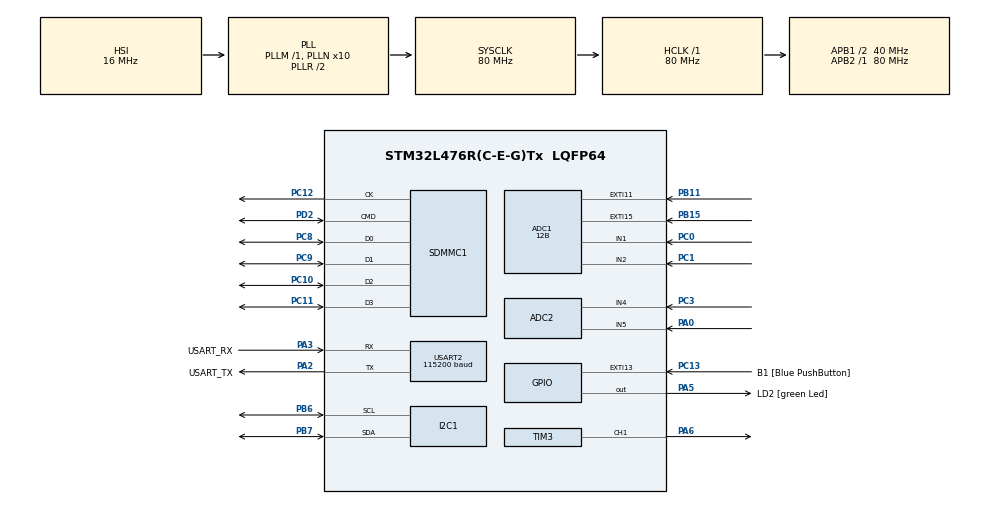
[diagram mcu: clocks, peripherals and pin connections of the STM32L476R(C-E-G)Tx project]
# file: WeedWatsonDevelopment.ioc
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ADC1.AWD1HighThreshold=2000
ADC1.AWD1ITMode=ENABLE
ADC1.Channel-0\#ChannelRegularConversion=ADC_CHANNEL_1
ADC1.Channel-1\#ChannelRegularConversion=ADC_CHANNEL_1
ADC1.ClockPrescaler=ADC_CLOCK_ASYNC_DIV1
ADC1.ContinuousConvMode=ENABLE
ADC1.DMAContinuousRequests=DISABLE
ADC1.DataAlign=ADC_DATAALIGN_RIGHT
ADC1.DiscontinuousConvMode=DISABLE
ADC1.EOCSelection=ADC_EOC_SINGLE_CONV
ADC1.EnableAnalogWatchDog1=true
ADC1.EnableAnalogWatchDog2=false
ADC1.EnableAnalogWatchDog3=false
ADC1.EnableInjectedConversion=DISABLE
ADC1.EnableRegularConversion=ENABLE
ADC1.ExternalTrigConv=ADC_EXTERNALTRIG_EXT_IT11
ADC1.ExternalTrigConvEdge=ADC_EXTERNALTRIGCONVEDGE_RISING
ADC1.LowPowerAutoWait=DISABLE
ADC1.NbrOfConversion=2
ADC1.NbrOfConversionFlag=1
ADC1.OffsetNumber-0\#ChannelRegularConversion=ADC_OFFSET_NONE
ADC1.OffsetNumber-1\#ChannelRegularConversion=ADC_OFFSET_NONE
ADC1.Overrun=ADC_OVR_DATA_OVERWRITTEN
ADC1.OversamplingMode=ENABLE
ADC1.Rank-0\#ChannelRegularConversion=1
ADC1.Rank-1\#ChannelRegularConversion=2
ADC1.Ratio=ADC_OVERSAMPLING_RATIO_2
ADC1.Resolution=ADC_RESOLUTION_12B
ADC1.SamplingTime-0\#ChannelRegularConversion=ADC_SAMPLETIME_2CYCLES_5
ADC1.SamplingTime-1\#ChannelRegularConversion=ADC_SAMPLETIME_2CYCLES_5
ADC1.ScanConvMode=ADC_SCAN_ENABLE
ADC1.master=1
ADC2.Channel-0\#ChannelRegularConversion=ADC_CHANNEL_4
ADC2.Channel-1\#ChannelRegularConversion=ADC_CHANNEL_5
ADC2.ExternalTrigConv=ADC_EXTERNALTRIG_T4_CC4
ADC2.NbrOfConversion=2
ADC2.NbrOfConversionFlag=1
ADC2.OffsetNumber-0\#ChannelRegularConversion=ADC_OFFSET_NONE
ADC2.OffsetNumber-1\#ChannelRegularConversion=ADC_OFFSET_NONE
ADC2.OversamplingMode=ENABLE
ADC2.Rank-0\#ChannelRegularConversion=1
ADC2.Rank-1\#ChannelRegularConversion=2
ADC2.Ratio=ADC_OVERSAMPLING_RATIO_4
ADC2.SamplingTime-0\#ChannelRegularConversion=ADC_SAMPLETIME_2CYCLES_5
ADC2.SamplingTime-1\#ChannelRegularConversion=ADC_SAMPLETIME_2CYCLES_5
Dma.ADC1.2.Direction=DMA_PERIPH_TO_MEMORY
Dma.ADC1.2.Instance=DMA2_Channel3
Dma.ADC1.2.MemDataAlignment=DMA_MDATAALIGN_HALFWORD
Dma.ADC1.2.MemInc=DMA_MINC_ENABLE
Dma.ADC1.2.Mode=DMA_CIRCULAR
Dma.ADC1.2.PeriphDataAlignment=DMA_PDATAALIGN_HALFWORD
Dma.ADC1.2.PeriphInc=DMA_PINC_DISABLE
Dma.ADC1.2.Priority=DMA_PRIORITY_HIGH
Dma.ADC2.3.Direction=DMA_PERIPH_TO_MEMORY
Dma.ADC2.3.Instance=DMA2_Channel4
Dma.ADC2.3.MemDataAlignment=DMA_MDATAALIGN_HALFWORD
Dma.ADC2.3.MemInc=DMA_MINC_ENABLE
Dma.ADC2.3.Mode=DMA_NORMAL
Dma.ADC2.3.PeriphDataAlignment=DMA_PDATAALIGN_HALFWORD
Dma.ADC2.3.PeriphInc=DMA_PINC_DISABLE
Dma.ADC2.3.Priority=DMA_PRIORITY_HIGH
Dma.Request0=USART2_TX
Dma.Request1=USART2_RX
Dma.Request2=ADC1
Dma.Request3=ADC2
Dma.USART2_RX.1.Direction=DMA_PERIPH_TO_MEMORY
Dma.USART2_RX.1.Instance=DMA1_Channel6
Dma.USART2_RX.1.MemDataAlignment=DMA_MDATAALIGN_BYTE
Dma.USART2_RX.1.MemInc=DMA_MINC_ENABLE
Dma.USART2_RX.1.Mode=DMA_NORMAL
Dma.USART2_RX.1.PeriphDataAlignment=DMA_PDATAALIGN_BYTE
Dma.USART2_RX.1.PeriphInc=DMA_PINC_DISABLE
Dma.USART2_RX.1.Priority=DMA_PRIORITY_LOW
Dma.USART2_TX.0.Direction=DMA_MEMORY_TO_PERIPH
Dma.USART2_TX.0.Instance=DMA1_Channel7
Dma.USART2_TX.0.MemDataAlignment=DMA_MDATAALIGN_BYTE
Dma.USART2_TX.0.MemInc=DMA_MINC_ENABLE
Dma.USART2_TX.0.Mode=DMA_NORMAL
Dma.USART2_TX.0.PeriphDataAlignment=DMA_PDATAALIGN_BYTE
Dma.USART2_TX.0.PeriphInc=DMA_PINC_DISABLE
Dma.USART2_TX.0.Priority=DMA_PRIORITY_LOW
I2C1.OwnAddress=0
I2C1.Speed=80
I2C1.Timing=0x0090EBFF
Mcu.Family=STM32L4
Mcu.Name=STM32L476R(C-E-G)Tx
Mcu.Package=LQFP64
NVIC.ADC1_2_IRQn=true\:0\:0\:false\:false\:true\:true
NVIC.DMA1_Channel6_IRQn=true\:0\:0\:false\:false\:true\:true
NVIC.DMA1_Channel7_IRQn=true\:0\:0\:false\:false\:true\:true
NVIC.DMA2_Channel3_IRQn=true\:0\:0\:false\:false\:true\:true
NVIC.DMA2_Channel4_IRQn=true\:0\:0\:false\:false\:true\:true
NVIC.EXTI15_10_IRQn=true\:0\:0\:false\:false\:true\:true
NVIC.I2C1_ER_IRQn=true\:0\:0\:false\:false\:true\:true
NVIC.I2C1_EV_IRQn=true\:0\:0\:false\:false\:true\:true
NVIC.PriorityGroup=NVIC_PRIORITYGROUP_4
NVIC.TIM1_BRK_TIM15_IRQn=true\:0\:0\:false\:false\:true\:true
NVIC.TIM3_IRQn=true\:0\:0\:false\:false\:true\:true
NVIC.TIM4_IRQn=true\:0\:0\:false\:false\:true\:true
NVIC.USART2_IRQn=true\:0\:0\:false\:false\:true\:true
PA0.Signal=ADCx_IN5
PA13\ (JTMS-SWDIO).GPIO_Label=TMS
PA13\ (JTMS-SWDIO).Signal=SYS_JTMS-SWDIO
PA14\ (JTCK-SWCLK).GPIO_Label=TCK
PA14\ (JTCK-SWCLK).Signal=SYS_JTCK-SWCLK
PA2.GPIO_Label=USART_TX
PA2.GPIO_Mode=GPIO_MODE_AF_PP
PA2.GPIO_PuPd=GPIO_NOPULL
PA2.GPIO_Speed=GPIO_SPEED_FREQ_VERY_HIGH
PA2.Mode=Asynchronous
PA2.Signal=USART2_TX
PA3.GPIO_Label=USART_RX
PA3.GPIO_Mode=GPIO_MODE_AF_PP
PA3.GPIO_PuPd=GPIO_NOPULL
PA3.GPIO_Speed=GPIO_SPEED_FREQ_VERY_HIGH
PA3.Mode=Asynchronous
PA3.Signal=USART2_RX
PA5.GPIO_Label=LD2 [green Led]
PA5.GPIO_ModeDefaultOutputPP=GPIO_MODE_OUTPUT_PP
PA5.GPIO_PuPd=GPIO_NOPULL
PA5.GPIO_Speed=GPIO_SPEED_FREQ_LOW
PA5.Signal=GPIO_Output
PA6.Signal=S_TIM3_CH1
PB11.Signal=GPXTI11
PB15.Signal=GPXTI15
PB3\ (JTDO-TRACESWO).GPIO_Label=SWO
PB3\ (JTDO-TRACESWO).Signal=SYS_JTDO-SWO
PB6.Mode=I2C
PB6.Signal=I2C1_SCL
PB7.Mode=I2C
PB7.Signal=I2C1_SDA
PC0.Signal=ADCx_IN1
PC1.Signal=ADCx_IN2
PC10.Mode=SD_4_bits_Wide_bus
PC10.Signal=SDMMC1_D2
PC11.Mode=SD_4_bits_Wide_bus
PC11.Signal=SDMMC1_D3
PC12.Mode=SD_4_bits_Wide_bus
PC12.Signal=SDMMC1_CK
PC13.GPIO_Label=B1 [Blue PushButton]
PC13.GPIO_ModeDefaultEXTI=GPIO_MODE_IT_FALLING
PC13.GPIO_PuPd=GPIO_NOPULL
PC13.Signal=GPXTI13
PC14-OSC32_IN\ (PC14).Signal=RCC_OSC32_IN
PC15-OSC32_OUT\ (PC15).Signal=RCC_OSC32_OUT
PC3.Signal=ADCx_IN4
PC8.Mode=SD_4_bits_Wide_bus
PC8.Signal=SDMMC1_D0
PC9.Mode=SD_4_bits_Wide_bus
PC9.Signal=SDMMC1_D1
PD2.Mode=SD_4_bits_Wide_bus
PD2.Signal=SDMMC1_CMD
PH0-OSC_IN\ (PH0).Signal=RCC_OSC_IN
PH1-OSC_OUT\ (PH1).Signal=RCC_OSC_OUT
ProjectManager.HeapSize=0x200
ProjectManager.StackSize=0x400
ProjectManager.TargetToolchain=SW4STM32
RCC.ADCFreq_Value=64000000
RCC.AHBFreq_Value=80000000
RCC.APB1CLKDivider=RCC_HCLK_DIV2
RCC.APB1Freq_Value=40000000
RCC.APB1TimFreq_Value=80000000
RCC.APB2Freq_Value=80000000
RCC.APB2TimFreq_Value=80000000
RCC.CortexFreq_Value=80000000
RCC.HCLKFreq_Value=80000000
RCC.HSE_VALUE=8000000
RCC.HSI_VALUE=16000000
RCC.LSE_VALUE=32768
RCC.MSI_VALUE=4000000
RCC.PLLN=10
RCC.PLLSAI1Q=RCC_PLLQ_DIV4
RCC.PLLSourceVirtual=RCC_PLLSOURCE_HSI
RCC.PREFETCH_ENABLE=1
RCC.SYSCLKFreq_VALUE=80000000
RCC.SYSCLKSource=RCC_SYSCLKSOURCE_PLLCLK
RCC.USBFreq_Value=32000000
RCC.VCOOutputFreq_Value=160000000
SH.ADCx_IN1.0=ADC1_IN1,IN1-Single-Ended
SH.ADCx_IN2.0=ADC1_IN2,IN2-Single-Ended
SH.ADCx_IN4.0=ADC2_IN4,IN4-Single-Ended
SH.ADCx_IN5.0=ADC2_IN5,IN5-Single-Ended
SH.S_TIM3_CH1.0=TIM3_CH1,Output Compare1 CH1
TIM15.Channel-Output\ Compare1\ No\ Output=TIM_CHANNEL_1
TIM15.Period=49999
TIM15.Prescaler=15
TIM3.Channel-Output\ Compare1\ CH1=TIM_CHANNEL_1
TIM3.OCMode_1=TIM_OCMODE_TOGGLE
TIM3.Period=63999
TIM3.Prescaler=24
TIM4.Channel-Output\ Compare1\ No\ Output=TIM_CHANNEL_1
TIM4.Channel-Output\ Compare4\ No\ Output=TIM_CHANNEL_4
TIM4.Period=49999
TIM4.Prescaler=15
USART2.BaudRate=115200
USART2.VirtualMode-Asynchronous=VM_ASYNC
USART2.WordLength=WORDLENGTH_8B
VP_FATFS_VS_SDIO.Mode=SDIO
VP_TIM15_VS_ClockSourceINT.Mode=Internal
VP_TIM15_VS_no_output1.Mode=Output Compare1 No Output
VP_TIM3_VS_ClockSourceINT.Mode=Internal
VP_TIM4_VS_ClockSourceINT.Mode=Internal
VP_TIM4_VS_no_output1.Mode=Output Compare1 No Output
VP_TIM4_VS_no_output4.Mode=Output Compare4 No Output
board=NUCLEO-L476RG

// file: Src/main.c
/**
  ******************************************************************************
  * File Name          : main.c
  * Description        : Main program body
  ******************************************************************************
  * This notice applies to any and all portions of this file
  * that are not between comment pairs USER CODE BEGIN and
  * USER CODE END. Other portions of this file, whether
  * inserted by the user or by software development tools
  * are owned by their respective copyright owners.
  *
  * Copyright (c) 2017 STMicroelectronics International N.V.
  * All rights reserved.
  *
  * Redistribution and use in source and binary forms, with or without
  * modification, are permitted, provided that the following conditions are met:
  *
  * 1. Redistribution of source code must retain the above copyright notice,
  *    this list of conditions and the following disclaimer.
  * 2. Redistributions in binary form must reproduce the above copyright notice,
  *    this list of conditions and the following disclaimer in the documentation
  *    and/or other materials provided with the distribution.
  * 3. Neither the name of STMicroelectronics nor the names of other
  *    contributors to this software may be used to endorse or promote products
  *    derived from this software without specific written permission.
  * 4. This software, including modifications and/or derivative works of this
  *    software, must execute solely and exclusively on microcontroller or
  *    microprocessor devices manufactured by or for STMicroelectronics.
  * 5. Redistribution and use of this software other than as permitted under
  *    this license is void and will automatically terminate your rights under
  *    this license.
  *
  * THIS SOFTWARE IS PROVIDED BY STMICROELECTRONICS AND CONTRIBUTORS "AS IS"
  * AND ANY EXPRESS, IMPLIED OR STATUTORY WARRANTIES, INCLUDING, BUT NOT
  * LIMITED TO, THE IMPLIED WARRANTIES OF MERCHANTABILITY, FITNESS FOR A
  * PARTICULAR PURPOSE AND NON-INFRINGEMENT OF THIRD PARTY INTELLECTUAL PROPERTY
  * RIGHTS ARE DISCLAIMED TO THE FULLEST EXTENT PERMITTED BY LAW. IN NO EVENT
  * SHALL STMICROELECTRONICS OR CONTRIBUTORS BE LIABLE FOR ANY DIRECT, INDIRECT,
  * INCIDENTAL, SPECIAL, EXEMPLARY, OR CONSEQUENTIAL DAMAGES (INCLUDING, BUT NOT
  * LIMITED TO, PROCUREMENT OF SUBSTITUTE GOODS OR SERVICES; LOSS OF USE, DATA,
  * OR PROFITS; OR BUSINESS INTERRUPTION) HOWEVER CAUSED AND ON ANY THEORY OF
  * LIABILITY, WHETHER IN CONTRACT, STRICT LIABILITY, OR TORT (INCLUDING
  * NEGLIGENCE OR OTHERWISE) ARISING IN ANY WAY OUT OF THE USE OF THIS SOFTWARE,
  * EVEN IF ADVISED OF THE POSSIBILITY OF SUCH DAMAGE.
  *
  ******************************************************************************
  */
#include "main.h"
#include "stm32l4xx_hal.h"
#include "fatfs.h"

/* USER CODE BEGIN Includes */
#include "hd44780.h"

/* ADC parameters */
#define ADCCONVERTEDVALUES_BUFFER_SIZE ((uint32_t)    3)    /* Size of array containing ADC converted values: set to ADC sequencer number of ranks converted, to have a rank in each address */

/* USER CODE END Includes */

ADC_HandleTypeDef hadc1;
ADC_HandleTypeDef hadc2;
DMA_HandleTypeDef hdma_adc1;
DMA_HandleTypeDef hdma_adc2;

I2C_HandleTypeDef hi2c1;

SD_HandleTypeDef hsd1;

TIM_HandleTypeDef htim3;
TIM_HandleTypeDef htim4;
TIM_HandleTypeDef htim15;

UART_HandleTypeDef huart2;
DMA_HandleTypeDef hdma_usart2_tx;
DMA_HandleTypeDef hdma_usart2_rx;

/* USER CODE BEGIN PV */
/* Private variables ---------------------------------------------------------*/
__IO ITStatus UartReady = RESET;
__IO uint32_t UserButtonStatus = 0;  /* set to 1 after User Button interrupt  */

/* Variable containing ADC conversions results */
__IO uint16_t   aADCxConvertedValues[ADCCONVERTEDVALUES_BUFFER_SIZE];

/* Buffer used for transmission */
uint8_t aTxBuffer[] = "****UART_TwoBoards communication based on DMA****\n****UART_TwoBoards communication based on DMA****\n";

/* Buffer used for reception */
uint8_t aRxBuffer[RXBUFFERSIZE];

/* I2C display */
LCD_PCF8574_HandleTypeDef	lcd;

/* counter for pushbutton function increment*/
uint8_t PB_counter = 0;

/* USER CODE END PV */

int fputc(int ch, FILE *f);
void SystemClock_Config(void);
static void MX_GPIO_Init(void);
static void MX_DMA_Init(void);
static void MX_USART2_UART_Init(void);
static void MX_TIM3_Init(void);
static void MX_ADC1_Init(void);
static void MX_ADC2_Init(void);
static void MX_TIM4_Init(void);
static void MX_TIM15_Init(void);
static void MX_SDMMC1_SD_Init(void);
static void MX_I2C1_Init(void);

void HAL_TIM_MspPostInit(TIM_HandleTypeDef *htim);

/* USER CODE BEGIN PFP */
/* Private function prototypes -----------------------------------------------*/
void callBack(DMA_HandleTypeDef * hdma);
void do_ADC_conversion(void);
void initLCD(void);
void errorHandleLCD(LCD_RESULT result);
void errorHandleI2C(PCF8574_RESULT result);
void writeTestLCD(void);

HAL_StatusTypeDef SendData(void);
/* USER CODE END PFP */

/* USER CODE BEGIN 0 */

//write some stuff to the LCD
void writeTestLCD(void)
{
	LCD_SetLocation(&lcd, 0, 0);
	LCD_WriteString(&lcd, "pi:");
	LCD_SetLocation(&lcd, 0, 1);
	LCD_WriteString(&lcd, "e:");
	LCD_SetLocation(&lcd, 6, 0);
	LCD_WriteFloat(&lcd,3.1415926,7);
	LCD_SetLocation(&lcd, 6, 1);
	LCD_WriteFloat(&lcd,2.71,2);
}

//returns the size of a character array using a pointer to the first element of the character array
int size(uint8_t *ptr)
{
    //variable used to access the subsequent array elements.
    int offset = 0;
    //variable that counts the number of elements in your array
    int count = 0;

    //While loop that tests whether the end of the array has been reached
    while (*(ptr + offset) != '\0')
    {
        //increment the count variable
        ++count;
        //advance to the next element of the array
        ++offset;
    }
    //return the size of the array
    return count;
}
/* USER CODE END 0 */

int main(void)
{

  /* MCU Configuration----------------------------------------------------------*/

  /* Reset of all peripherals, Initializes the Flash interface and the Systick. */
  HAL_Init();

  /* Configure the system clock */
  SystemClock_Config();

  /* Initialize all configured peripherals */
  MX_GPIO_Init();
  MX_DMA_Init();
  MX_USART2_UART_Init();
  MX_TIM3_Init();
  MX_ADC1_Init();
  MX_ADC2_Init();
  MX_TIM4_Init();
  MX_TIM15_Init();
  MX_SDMMC1_SD_Init();
  MX_FATFS_Init();
  MX_I2C1_Init();

  /* USER CODE BEGIN 2 */
  HAL_UART_Transmit_DMA(&huart2, (uint8_t*)aTxBuffer, TXBUFFERSIZE);
  //HAL_UART_Receive_IT(&huart2, (uint8_t *)aRxBuffer, RXBUFFERSIZE);
  HAL_UART_Receive_DMA(&huart2, (uint8_t *)aRxBuffer, RXBUFFERSIZE);
  //if(HAL_UART_Receive_DMA(&UartHandle, (uint8_t *)aRxBuffer, RXBUFFERSIZE) != HAL_OK)

  /** TIM for base timer, timer for internal trigger */
  HAL_TIM_Base_Start_IT(&htim3);
  /**TIM for Output Compare, PinToggle */
  HAL_TIM_OC_Start_IT(&htim3, TIM_CHANNEL_1);

  /*## Start ADC conversions #################################################*/
  /* Run the ADC calibration in single-ended mode */
  if (HAL_ADCEx_Calibration_Start(&hadc1, ADC_SINGLE_ENDED) != HAL_OK)
  {
    /* Calibration Error */
    Error_Handler();
  }

  /* Start ADC conversion on regular group with transfer by DMA */
  if (HAL_ADC_Start_DMA(&hadc1,
                        (uint32_t *)aADCxConvertedValues,
                        ADCCONVERTEDVALUES_BUFFER_SIZE
                       ) != HAL_OK)
  {
    /* Start Error */
    Error_Handler();
  }

  /** i2c play
  //..this works sending three bytes to the i2c.
  uint8_t size = 2;
  uint8_t i2cTxBuffer[] = {0, 0 , 0x30};
		  //(handle->PCF_I2C_ADDRESS << 1) | PCF8574_I2C_ADDRESS_MASK

  //needs to be blocking because more to come.
  HAL_I2C_Master_Transmit(&hi2c1,
  			(0x3F|0x40),
			i2cTxBuffer,
			size,
			1000);
*/

  /* Init LCD and print some stuff there */
  initLCD();

	/* write to LCD*/
	LCD_ClearDisplay(&lcd);
	writeTestLCD();

	/* Output a message on Hyperterminal using printf function */
	printf("\n\r UART Printf Example: retarget the C library printf function to the UART\n\r");

  /* USER CODE END 2 */

  /* Infinite loop */
  while (1)
  {

  }

}

/** System Clock Configuration
*/
void SystemClock_Config(void)
{

  RCC_OscInitTypeDef RCC_OscInitStruct;
  RCC_ClkInitTypeDef RCC_ClkInitStruct;
  RCC_PeriphCLKInitTypeDef PeriphClkInit;

    /**Initializes the CPU, AHB and APB busses clocks
    */
  RCC_OscInitStruct.OscillatorType = RCC_OSCILLATORTYPE_HSI;
  RCC_OscInitStruct.HSIState = RCC_HSI_ON;
  RCC_OscInitStruct.HSICalibrationValue = 16;
  RCC_OscInitStruct.PLL.PLLState = RCC_PLL_ON;
  RCC_OscInitStruct.PLL.PLLSource = RCC_PLLSOURCE_HSI;
  RCC_OscInitStruct.PLL.PLLM = 1;
  RCC_OscInitStruct.PLL.PLLN = 10;
  RCC_OscInitStruct.PLL.PLLP = RCC_PLLP_DIV7;
  RCC_OscInitStruct.PLL.PLLQ = RCC_PLLQ_DIV2;
  RCC_OscInitStruct.PLL.PLLR = RCC_PLLR_DIV2;
  if (HAL_RCC_OscConfig(&RCC_OscInitStruct) != HAL_OK)
  {
    _Error_Handler(__FILE__, __LINE__);
  }

    /**Initializes the CPU, AHB and APB busses clocks
    */
  RCC_ClkInitStruct.ClockType = RCC_CLOCKTYPE_HCLK|RCC_CLOCKTYPE_SYSCLK
                              |RCC_CLOCKTYPE_PCLK1|RCC_CLOCKTYPE_PCLK2;
  RCC_ClkInitStruct.SYSCLKSource = RCC_SYSCLKSOURCE_PLLCLK;
  RCC_ClkInitStruct.AHBCLKDivider = RCC_SYSCLK_DIV1;
  RCC_ClkInitStruct.APB1CLKDivider = RCC_HCLK_DIV2;
  RCC_ClkInitStruct.APB2CLKDivider = RCC_HCLK_DIV1;

  if (HAL_RCC_ClockConfig(&RCC_ClkInitStruct, FLASH_LATENCY_3) != HAL_OK)
  {
    _Error_Handler(__FILE__, __LINE__);
  }

  PeriphClkInit.PeriphClockSelection = RCC_PERIPHCLK_USART2|RCC_PERIPHCLK_I2C1
                              |RCC_PERIPHCLK_SDMMC1|RCC_PERIPHCLK_ADC;
  PeriphClkInit.Usart2ClockSelection = RCC_USART2CLKSOURCE_PCLK1;
  PeriphClkInit.I2c1ClockSelection = RCC_I2C1CLKSOURCE_PCLK1;
  PeriphClkInit.AdcClockSelection = RCC_ADCCLKSOURCE_PLLSAI1;
  PeriphClkInit.Sdmmc1ClockSelection = RCC_SDMMC1CLKSOURCE_PLLSAI1;
  PeriphClkInit.PLLSAI1.PLLSAI1Source = RCC_PLLSOURCE_HSI;
  PeriphClkInit.PLLSAI1.PLLSAI1M = 1;
  PeriphClkInit.PLLSAI1.PLLSAI1N = 8;
  PeriphClkInit.PLLSAI1.PLLSAI1P = RCC_PLLP_DIV7;
  PeriphClkInit.PLLSAI1.PLLSAI1Q = RCC_PLLQ_DIV4;
  PeriphClkInit.PLLSAI1.PLLSAI1R = RCC_PLLR_DIV2;
  PeriphClkInit.PLLSAI1.PLLSAI1ClockOut = RCC_PLLSAI1_48M2CLK|RCC_PLLSAI1_ADC1CLK;
  if (HAL_RCCEx_PeriphCLKConfig(&PeriphClkInit) != HAL_OK)
  {
    _Error_Handler(__FILE__, __LINE__);
  }

    /**Configure the main internal regulator output voltage
    */
  if (HAL_PWREx_ControlVoltageScaling(PWR_REGULATOR_VOLTAGE_SCALE1) != HAL_OK)
  {
    _Error_Handler(__FILE__, __LINE__);
  }

    /**Configure the Systick interrupt time
    */
  HAL_SYSTICK_Config(HAL_RCC_GetHCLKFreq()/1000);

    /**Configure the Systick
    */
  HAL_SYSTICK_CLKSourceConfig(SYSTICK_CLKSOURCE_HCLK);

  /* SysTick_IRQn interrupt configuration */
  HAL_NVIC_SetPriority(SysTick_IRQn, 0, 0);
}

/* ADC1 init function */
static void MX_ADC1_Init(void)
{

  ADC_MultiModeTypeDef multimode;
  ADC_AnalogWDGConfTypeDef AnalogWDGConfig;
  ADC_ChannelConfTypeDef sConfig;

    /**Common config
    */
  hadc1.Instance = ADC1;
  hadc1.Init.ClockPrescaler = ADC_CLOCK_ASYNC_DIV1;
  hadc1.Init.Resolution = ADC_RESOLUTION_12B;
  hadc1.Init.DataAlign = ADC_DATAALIGN_RIGHT;
  hadc1.Init.ScanConvMode = ADC_SCAN_ENABLE;
  hadc1.Init.EOCSelection = ADC_EOC_SINGLE_CONV;
  hadc1.Init.LowPowerAutoWait = DISABLE;
  hadc1.Init.ContinuousConvMode = ENABLE;
  hadc1.Init.NbrOfConversion = 2;
  hadc1.Init.DiscontinuousConvMode = DISABLE;
  hadc1.Init.NbrOfDiscConversion = 1;
  hadc1.Init.ExternalTrigConv = ADC_EXTERNALTRIG_EXT_IT11;
  hadc1.Init.ExternalTrigConvEdge = ADC_EXTERNALTRIGCONVEDGE_RISING;
  hadc1.Init.DMAContinuousRequests = DISABLE;
  hadc1.Init.Overrun = ADC_OVR_DATA_OVERWRITTEN;
  hadc1.Init.OversamplingMode = ENABLE;
  hadc1.Init.Oversampling.Ratio = ADC_OVERSAMPLING_RATIO_2;
  hadc1.Init.Oversampling.RightBitShift = ADC_RIGHTBITSHIFT_NONE;
  hadc1.Init.Oversampling.TriggeredMode = ADC_TRIGGEREDMODE_SINGLE_TRIGGER;
  hadc1.Init.Oversampling.OversamplingStopReset = ADC_REGOVERSAMPLING_CONTINUED_MODE;
  if (HAL_ADC_Init(&hadc1) != HAL_OK)
  {
    _Error_Handler(__FILE__, __LINE__);
  }

    /**Configure the ADC multi-mode
    */
  multimode.Mode = ADC_MODE_INDEPENDENT;
  if (HAL_ADCEx_MultiModeConfigChannel(&hadc1, &multimode) != HAL_OK)
  {
    _Error_Handler(__FILE__, __LINE__);
  }

    /**Configure Analog WatchDog 1
    */
  AnalogWDGConfig.WatchdogNumber = ADC_ANALOGWATCHDOG_1;
  AnalogWDGConfig.WatchdogMode = ADC_ANALOGWATCHDOG_SINGLE_REG;
  AnalogWDGConfig.Channel = ADC_CHANNEL_1;
  AnalogWDGConfig.ITMode = ENABLE;
  AnalogWDGConfig.HighThreshold = 2000;
  AnalogWDGConfig.LowThreshold = 0;
  if (HAL_ADC_AnalogWDGConfig(&hadc1, &AnalogWDGConfig) != HAL_OK)
  {
    _Error_Handler(__FILE__, __LINE__);
  }

    /**Configure Regular Channel
    */
  sConfig.Channel = ADC_CHANNEL_1;
  sConfig.Rank = 1;
  sConfig.SamplingTime = ADC_SAMPLETIME_2CYCLES_5;
  sConfig.SingleDiff = ADC_SINGLE_ENDED;
  sConfig.OffsetNumber = ADC_OFFSET_NONE;
  sConfig.Offset = 0;
  if (HAL_ADC_ConfigChannel(&hadc1, &sConfig) != HAL_OK)
  {
    _Error_Handler(__FILE__, __LINE__);
  }

    /**Configure Regular Channel
    */
  sConfig.Rank = 2;
  if (HAL_ADC_ConfigChannel(&hadc1, &sConfig) != HAL_OK)
  {
    _Error_Handler(__FILE__, __LINE__);
  }

}

/* ADC2 init function */
static void MX_ADC2_Init(void)
{

  ADC_ChannelConfTypeDef sConfig;

    /**Common config
    */
  hadc2.Instance = ADC2;
  hadc2.Init.ClockPrescaler = ADC_CLOCK_ASYNC_DIV1;
  hadc2.Init.Resolution = ADC_RESOLUTION_12B;
  hadc2.Init.DataAlign = ADC_DATAALIGN_RIGHT;
  hadc2.Init.ScanConvMode = ADC_SCAN_ENABLE;
  hadc2.Init.EOCSelection = ADC_EOC_SINGLE_CONV;
  hadc2.Init.LowPowerAutoWait = DISABLE;
  hadc2.Init.ContinuousConvMode = DISABLE;
  hadc2.Init.NbrOfConversion = 2;
  hadc2.Init.DiscontinuousConvMode = DISABLE;
  hadc2.Init.NbrOfDiscConversion = 1;
  hadc2.Init.ExternalTrigConv = ADC_EXTERNALTRIG_T4_CC4;
  hadc2.Init.ExternalTrigConvEdge = ADC_EXTERNALTRIGCONVEDGE_RISING;
  hadc2.Init.DMAContinuousRequests = DISABLE;
  hadc2.Init.Overrun = ADC_OVR_DATA_PRESERVED;
  hadc2.Init.OversamplingMode = ENABLE;
  hadc2.Init.Oversampling.Ratio = ADC_OVERSAMPLING_RATIO_4;
  hadc2.Init.Oversampling.RightBitShift = ADC_RIGHTBITSHIFT_NONE;
  hadc2.Init.Oversampling.TriggeredMode = ADC_TRIGGEREDMODE_SINGLE_TRIGGER;
  hadc2.Init.Oversampling.OversamplingStopReset = ADC_REGOVERSAMPLING_CONTINUED_MODE;
  if (HAL_ADC_Init(&hadc2) != HAL_OK)
  {
    _Error_Handler(__FILE__, __LINE__);
  }

    /**Configure Regular Channel
    */
  sConfig.Channel = ADC_CHANNEL_4;
  sConfig.Rank = 1;
  sConfig.SamplingTime = ADC_SAMPLETIME_2CYCLES_5;
  sConfig.SingleDiff = ADC_SINGLE_ENDED;
  sConfig.OffsetNumber = ADC_OFFSET_NONE;
  sConfig.Offset = 0;
  if (HAL_ADC_ConfigChannel(&hadc2, &sConfig) != HAL_OK)
  {
    _Error_Handler(__FILE__, __LINE__);
  }

    /**Configure Regular Channel
    */
  sConfig.Channel = ADC_CHANNEL_5;
  sConfig.Rank = 2;
  if (HAL_ADC_ConfigChannel(&hadc2, &sConfig) != HAL_OK)
  {
    _Error_Handler(__FILE__, __LINE__);
  }

}

/* I2C1 init function */
static void MX_I2C1_Init(void)
{

  hi2c1.Instance = I2C1;
  hi2c1.Init.Timing = 0x0090EBFF;
  hi2c1.Init.OwnAddress1 = 0;
  hi2c1.Init.AddressingMode = I2C_ADDRESSINGMODE_7BIT;
  hi2c1.Init.DualAddressMode = I2C_DUALADDRESS_DISABLE;
  hi2c1.Init.OwnAddress2 = 0;
  hi2c1.Init.OwnAddress2Masks = I2C_OA2_NOMASK;
  hi2c1.Init.GeneralCallMode = I2C_GENERALCALL_DISABLE;
  hi2c1.Init.NoStretchMode = I2C_NOSTRETCH_DISABLE;
  if (HAL_I2C_Init(&hi2c1) != HAL_OK)
  {
    _Error_Handler(__FILE__, __LINE__);
  }

    /**Configure Analogue filter
    */
  if (HAL_I2CEx_ConfigAnalogFilter(&hi2c1, I2C_ANALOGFILTER_ENABLE) != HAL_OK)
  {
    _Error_Handler(__FILE__, __LINE__);
  }

    /**Configure Digital filter
    */
  if (HAL_I2CEx_ConfigDigitalFilter(&hi2c1, 0) != HAL_OK)
  {
    _Error_Handler(__FILE__, __LINE__);
  }

}

/* SDMMC1 init function */
static void MX_SDMMC1_SD_Init(void)
{

  hsd1.Instance = SDMMC1;
  hsd1.Init.ClockEdge = SDMMC_CLOCK_EDGE_RISING;
  hsd1.Init.ClockBypass = SDMMC_CLOCK_BYPASS_DISABLE;
  hsd1.Init.ClockPowerSave = SDMMC_CLOCK_POWER_SAVE_DISABLE;
  hsd1.Init.BusWide = SDMMC_BUS_WIDE_1B;
  hsd1.Init.HardwareFlowControl = SDMMC_HARDWARE_FLOW_CONTROL_DISABLE;
  hsd1.Init.ClockDiv = 0;

}

/* TIM3 init function */
static void MX_TIM3_Init(void)
{

  TIM_ClockConfigTypeDef sClockSourceConfig;
  TIM_MasterConfigTypeDef sMasterConfig;
  TIM_OC_InitTypeDef sConfigOC;

  htim3.Instance = TIM3;
  htim3.Init.Prescaler = 24;
  htim3.Init.CounterMode = TIM_COUNTERMODE_UP;
  htim3.Init.Period = 63999;
  htim3.Init.ClockDivision = TIM_CLOCKDIVISION_DIV1;
  htim3.Init.AutoReloadPreload = TIM_AUTORELOAD_PRELOAD_DISABLE;
  if (HAL_TIM_Base_Init(&htim3) != HAL_OK)
  {
    _Error_Handler(__FILE__, __LINE__);
  }

  sClockSourceConfig.ClockSource = TIM_CLOCKSOURCE_INTERNAL;
  if (HAL_TIM_ConfigClockSource(&htim3, &sClockSourceConfig) != HAL_OK)
  {
    _Error_Handler(__FILE__, __LINE__);
  }

  if (HAL_TIM_OC_Init(&htim3) != HAL_OK)
  {
    _Error_Handler(__FILE__, __LINE__);
  }

  sMasterConfig.MasterOutputTrigger = TIM_TRGO_RESET;
  sMasterConfig.MasterSlaveMode = TIM_MASTERSLAVEMODE_DISABLE;
  if (HAL_TIMEx_MasterConfigSynchronization(&htim3, &sMasterConfig) != HAL_OK)
  {
    _Error_Handler(__FILE__, __LINE__);
  }

  sConfigOC.OCMode = TIM_OCMODE_TOGGLE;
  sConfigOC.Pulse = 0;
  sConfigOC.OCPolarity = TIM_OCPOLARITY_HIGH;
  sConfigOC.OCFastMode = TIM_OCFAST_DISABLE;
  if (HAL_TIM_OC_ConfigChannel(&htim3, &sConfigOC, TIM_CHANNEL_1) != HAL_OK)
  {
    _Error_Handler(__FILE__, __LINE__);
  }

  HAL_TIM_MspPostInit(&htim3);

}

/* TIM4 init function */
static void MX_TIM4_Init(void)
{

  TIM_ClockConfigTypeDef sClockSourceConfig;
  TIM_MasterConfigTypeDef sMasterConfig;
  TIM_OC_InitTypeDef sConfigOC;

  htim4.Instance = TIM4;
  htim4.Init.Prescaler = 15;
  htim4.Init.CounterMode = TIM_COUNTERMODE_UP;
  htim4.Init.Period = 49999;
  htim4.Init.ClockDivision = TIM_CLOCKDIVISION_DIV1;
  htim4.Init.AutoReloadPreload = TIM_AUTORELOAD_PRELOAD_DISABLE;
  if (HAL_TIM_Base_Init(&htim4) != HAL_OK)
  {
    _Error_Handler(__FILE__, __LINE__);
  }

  sClockSourceConfig.ClockSource = TIM_CLOCKSOURCE_INTERNAL;
  if (HAL_TIM_ConfigClockSource(&htim4, &sClockSourceConfig) != HAL_OK)
  {
    _Error_Handler(__FILE__, __LINE__);
  }

  if (HAL_TIM_OC_Init(&htim4) != HAL_OK)
  {
    _Error_Handler(__FILE__, __LINE__);
  }

  sMasterConfig.MasterOutputTrigger = TIM_TRGO_RESET;
  sMasterConfig.MasterSlaveMode = TIM_MASTERSLAVEMODE_DISABLE;
  if (HAL_TIMEx_MasterConfigSynchronization(&htim4, &sMasterConfig) != HAL_OK)
  {
    _Error_Handler(__FILE__, __LINE__);
  }

  sConfigOC.OCMode = TIM_OCMODE_TIMING;
  sConfigOC.Pulse = 0;
  sConfigOC.OCPolarity = TIM_OCPOLARITY_HIGH;
  sConfigOC.OCFastMode = TIM_OCFAST_DISABLE;
  if (HAL_TIM_OC_ConfigChannel(&htim4, &sConfigOC, TIM_CHANNEL_1) != HAL_OK)
  {
    _Error_Handler(__FILE__, __LINE__);
  }

  if (HAL_TIM_OC_ConfigChannel(&htim4, &sConfigOC, TIM_CHANNEL_4) != HAL_OK)
  {
    _Error_Handler(__FILE__, __LINE__);
  }

}

/* TIM15 init function */
static void MX_TIM15_Init(void)
{

  TIM_ClockConfigTypeDef sClockSourceConfig;
  TIM_MasterConfigTypeDef sMasterConfig;
  TIM_OC_InitTypeDef sConfigOC;
  TIM_BreakDeadTimeConfigTypeDef sBreakDeadTimeConfig;

  htim15.Instance = TIM15;
  htim15.Init.Prescaler = 15;
  htim15.Init.CounterMode = TIM_COUNTERMODE_UP;
  htim15.Init.Period = 49999;
  htim15.Init.ClockDivision = TIM_CLOCKDIVISION_DIV1;
  htim15.Init.RepetitionCounter = 0;
  htim15.Init.AutoReloadPreload = TIM_AUTORELOAD_PRELOAD_DISABLE;
  if (HAL_TIM_Base_Init(&htim15) != HAL_OK)
  {
    _Error_Handler(__FILE__, __LINE__);
  }

  sClockSourceConfig.ClockSource = TIM_CLOCKSOURCE_INTERNAL;
  if (HAL_TIM_ConfigClockSource(&htim15, &sClockSourceConfig) != HAL_OK)
  {
    _Error_Handler(__FILE__, __LINE__);
  }

  if (HAL_TIM_OC_Init(&htim15) != HAL_OK)
  {
    _Error_Handler(__FILE__, __LINE__);
  }

  sMasterConfig.MasterOutputTrigger = TIM_TRGO_RESET;
  sMasterConfig.MasterSlaveMode = TIM_MASTERSLAVEMODE_DISABLE;
  if (HAL_TIMEx_MasterConfigSynchronization(&htim15, &sMasterConfig) != HAL_OK)
  {
    _Error_Handler(__FILE__, __LINE__);
  }

  sConfigOC.OCMode = TIM_OCMODE_TIMING;
  sConfigOC.Pulse = 0;
  sConfigOC.OCPolarity = TIM_OCPOLARITY_HIGH;
  sConfigOC.OCNPolarity = TIM_OCNPOLARITY_HIGH;
  sConfigOC.OCFastMode = TIM_OCFAST_DISABLE;
  sConfigOC.OCIdleState = TIM_OCIDLESTATE_RESET;
  sConfigOC.OCNIdleState = TIM_OCNIDLESTATE_RESET;
  if (HAL_TIM_OC_ConfigChannel(&htim15, &sConfigOC, TIM_CHANNEL_1) != HAL_OK)
  {
    _Error_Handler(__FILE__, __LINE__);
  }

  sBreakDeadTimeConfig.OffStateRunMode = TIM_OSSR_DISABLE;
  sBreakDeadTimeConfig.OffStateIDLEMode = TIM_OSSI_DISABLE;
  sBreakDeadTimeConfig.LockLevel = TIM_LOCKLEVEL_OFF;
  sBreakDeadTimeConfig.DeadTime = 0;
  sBreakDeadTimeConfig.BreakState = TIM_BREAK_DISABLE;
  sBreakDeadTimeConfig.BreakPolarity = TIM_BREAKPOLARITY_HIGH;
  sBreakDeadTimeConfig.BreakFilter = 0;
  sBreakDeadTimeConfig.AutomaticOutput = TIM_AUTOMATICOUTPUT_DISABLE;
  if (HAL_TIMEx_ConfigBreakDeadTime(&htim15, &sBreakDeadTimeConfig) != HAL_OK)
  {
    _Error_Handler(__FILE__, __LINE__);
  }

}

/* USART2 init function */
static void MX_USART2_UART_Init(void)
{

  huart2.Instance = USART2;
  huart2.Init.BaudRate = 115200;
  huart2.Init.WordLength = UART_WORDLENGTH_8B;
  huart2.Init.StopBits = UART_STOPBITS_1;
  huart2.Init.Parity = UART_PARITY_NONE;
  huart2.Init.Mode = UART_MODE_TX_RX;
  huart2.Init.HwFlowCtl = UART_HWCONTROL_NONE;
  huart2.Init.OverSampling = UART_OVERSAMPLING_16;
  huart2.Init.OneBitSampling = UART_ONE_BIT_SAMPLE_DISABLE;
  huart2.AdvancedInit.AdvFeatureInit = UART_ADVFEATURE_NO_INIT;
  if (HAL_UART_Init(&huart2) != HAL_OK)
  {
    _Error_Handler(__FILE__, __LINE__);
  }

}

static void MX_DMA_Init(void)
{
  /* DMA controller clock enable */
  __HAL_RCC_DMA1_CLK_ENABLE();
  __HAL_RCC_DMA2_CLK_ENABLE();

  /* DMA interrupt init */
  /* DMA1_Channel6_IRQn interrupt configuration */
  HAL_NVIC_SetPriority(DMA1_Channel6_IRQn, 0, 0);
  HAL_NVIC_EnableIRQ(DMA1_Channel6_IRQn);
  /* DMA1_Channel7_IRQn interrupt configuration */
  HAL_NVIC_SetPriority(DMA1_Channel7_IRQn, 0, 0);
  HAL_NVIC_EnableIRQ(DMA1_Channel7_IRQn);
  /* DMA2_Channel3_IRQn interrupt configuration */
  HAL_NVIC_SetPriority(DMA2_Channel3_IRQn, 0, 0);
  HAL_NVIC_EnableIRQ(DMA2_Channel3_IRQn);
  /* DMA2_Channel4_IRQn interrupt configuration */
  HAL_NVIC_SetPriority(DMA2_Channel4_IRQn, 0, 0);
  HAL_NVIC_EnableIRQ(DMA2_Channel4_IRQn);

}

/** Configure pins as
        * Analog
        * Input
        * Output
        * EVENT_OUT
        * EXTI
*/
static void MX_GPIO_Init(void)
{

  GPIO_InitTypeDef GPIO_InitStruct;

  /* GPIO Ports Clock Enable */
  __HAL_RCC_GPIOC_CLK_ENABLE();
  __HAL_RCC_GPIOH_CLK_ENABLE();
  __HAL_RCC_GPIOA_CLK_ENABLE();
  __HAL_RCC_GPIOB_CLK_ENABLE();
  __HAL_RCC_GPIOD_CLK_ENABLE();

  /*Configure GPIO pin Output Level */
  HAL_GPIO_WritePin(LD2_GPIO_Port, LD2_Pin, GPIO_PIN_RESET);

  /*Configure GPIO pin : B1_Pin */
  GPIO_InitStruct.Pin = B1_Pin;
  GPIO_InitStruct.Mode = GPIO_MODE_IT_FALLING;
  GPIO_InitStruct.Pull = GPIO_NOPULL;
  HAL_GPIO_Init(B1_GPIO_Port, &GPIO_InitStruct);

  /*Configure GPIO pin : LD2_Pin */
  GPIO_InitStruct.Pin = LD2_Pin;
  GPIO_InitStruct.Mode = GPIO_MODE_OUTPUT_PP;
  GPIO_InitStruct.Pull = GPIO_NOPULL;
  GPIO_InitStruct.Speed = GPIO_SPEED_FREQ_LOW;
  HAL_GPIO_Init(LD2_GPIO_Port, &GPIO_InitStruct);

  /*Configure GPIO pins : PB11 PB15 */
  GPIO_InitStruct.Pin = GPIO_PIN_11|GPIO_PIN_15;
  GPIO_InitStruct.Mode = GPIO_MODE_IT_RISING;
  GPIO_InitStruct.Pull = GPIO_NOPULL;
  HAL_GPIO_Init(GPIOB, &GPIO_InitStruct);

  /* EXTI interrupt init*/
  HAL_NVIC_SetPriority(EXTI15_10_IRQn, 0, 0);
  HAL_NVIC_EnableIRQ(EXTI15_10_IRQn);

}

/* USER CODE BEGIN 4 */
void do_ADC_conversion(void)
{
	/*
	 * this is playing code only.
	 * Enable sequencer in discontinuous mode, this will perform
	 * the conversion of the next rank in sequencer.
	 * Note: 	For this example, conversion is triggered by software start,
				therefore "HAL_ADC_Start()" must be called for each conversion.
				Since DMA transfer has been initiated previously by function
				"HAL_ADC_Start_DMA()", this function will keep DMA transfer active.
	 */
	if (HAL_ADC_Start(&hadc1) != HAL_OK)
	{
	  Error_Handler();
	}

    /* After each intermediate conversion,
       - EOS remains reset (EOS is set only every third conversion)
       - EOC is set then immediately reset by DMA reading of DR register.
     Therefore, the only reliable flag to check the conversion end is EOSMP
     (end of sampling flag).
     Once EOSMP is set, the end of conversion will be reached when the successive
     approximations are over.
     RM indicates 12.5 ADC clock cycles for the successive approximations
     duration with a 12-bit resolution, or 185.ns at 80 MHz.
     Therefore, it is known that the conversion is over at
     HAL_ADC_PollForConversion() API return */
    if (HAL_ADC_PollForEvent(&hadc1, ADC_EOSMP_EVENT, 10) != HAL_OK)
    {
      Error_Handler();
    }
}

HAL_StatusTypeDef SendData(void)
{
	HAL_StatusTypeDef result = HAL_OK;
	if(huart2.gState == HAL_UART_STATE_READY)
	{
		//at 115200, at 500hz this is about as much as can send between triggers
		memset(aTxBuffer, '\0',TXBUFFERSIZE);
		uint8_t len = sprintf((char*)aTxBuffer,"Other Text %i\n",454);

		//transmit using the HAL
		if (0) {
			result = HAL_UART_Transmit_DMA(&huart2, (uint8_t*)aTxBuffer, len);
		}
		else
		{

			//try just using the registers.... with HAL macros
				__HAL_DMA_DISABLE(&hdma_usart2_tx);
			//Configure the total number of bytes to be transferred to the DMA control register.
				hdma_usart2_tx.Instance->CNDTR = len;
			//4. Configure the channel priority in the DMA register
				//hdma_usart2_tx.Instance->CCR = DMA_PRIORITY_LOW ; ///this is clearing lost of other flag
			//5. Configure DMA interrupt generation after half/ full transfer as required by the application.
				__HAL_DMA_ENABLE_IT(&hdma_usart2_tx, DMA_IT_TC|DMA_IT_HT|DMA_IT_TE);
			//6. Clear the TC flag in the USART_ISR register by setting the TCCF bit in the USART_ICR register.
				__HAL_UART_CLEAR_FLAG(&huart2,UART_CLEAR_TCF);
				/* Clear all flags */
				//hdma_usart2_tx.DmaBaseAddress->IFCR = (DMA_ISR_GIF1 << hdma_usart2_tx.ChannelIndex);
				__HAL_DMA_CLEAR_FLAG(&hdma_usart2_tx, DMA_FLAG_HT7|DMA_FLAG_TE7|DMA_FLAG_GL7);
			//7. Activate the channel in the DMA register.
				// Activate the channel by setting the ENABLE bit in the DMA_CCRx register.
				__HAL_DMA_ENABLE(&hdma_usart2_tx);
				SET_BIT(huart2.Instance->CR3, USART_CR3_DMAT);
		}
	}
	return result;
}

void HAL_TIM_OC_DelayElapsedCallback(TIM_HandleTypeDef *htim)
{
	if(htim->Instance==TIM3 && htim->Channel==HAL_TIM_ACTIVE_CHANNEL_1)
	{
	//For serial testing, send stuff
	SendData();
	}

}

void HAL_GPIO_EXTI_Callback(uint16_t GPIO_Pin)
{
	if(GPIO_Pin == B1_Pin)
	{
		if (PB_counter == 0){
			LCD_ClearDisplay(&lcd);
			PB_counter ++;
		} else if(PB_counter == 1){
			writeTestLCD();
			PB_counter ++;
		} else if(PB_counter == 2){
			lcd.backLight =! lcd.backLight;
			LCD_StateLEDControl(&lcd, lcd.backLight);
			PB_counter = 0;
		}

	}

	//Send stuff on the serial. via HAL and DMA (bit slower that that used on timer
	if (huart2.gState == HAL_UART_STATE_READY)
	{
		//don't need this as sprintf put a null at the end.
		memset(aTxBuffer, '\0',TXBUFFERSIZE);
		uint8_t len = sprintf((char*)aTxBuffer,"Other Text %i\n",454);

		HAL_StatusTypeDef result = HAL_OK;
		result = HAL_UART_Transmit_DMA(&huart2, (uint8_t*)aTxBuffer, len);
		if (result != HAL_OK){
			_Error_Handler(__FILE__, __LINE__);
		}

	}
	else
	{
		/* not run due to error */
	}
}

void HAL_UART_RxCpltCallback(UART_HandleTypeDef *huart)
{

    if(__HAL_UART_GET_FLAG(huart,UART_FLAG_IDLE))
	{
    	__HAL_UART_CLEAR_IDLEFLAG(huart);

    	//this is a read only field only
    	if(DMA1->ISR &  DMA_ISR_TCIF6)
    		{
    		 //ATTEMPT TO SET TC FLAG
    		}
    	//clear idle flag

    //IDLE flag set
	}
}

void callBack(DMA_HandleTypeDef * hdma)
{
	HAL_GPIO_TogglePin(LD2_GPIO_Port, LD2_Pin);

	//here
}

void HAL_UART_RxHalfCpltCallback(UART_HandleTypeDef *huart)
{
	//stop DMA
	__HAL_DMA_DISABLE(&hdma_usart2_rx);
	HAL_UART_AbortReceive(&huart2);
	//reastart it
	HAL_UART_Receive_DMA(&huart2, (uint8_t *)aRxBuffer, RXBUFFERSIZE);
	//not used
}

/**
  * @brief  Conversion complete callback in non blocking mode.... DMA comes here too.
  * @param  AdcHandle : ADC handle
  * @note   This example shows a simple way to report end of conversion
  *         and get conversion result. You can add your own implementation.
  * @retval None
  */
void HAL_ADC_ConvCpltCallback(ADC_HandleTypeDef *hadc)
{
	//HAL_START_DMA sets the callbacks
	//ADC_DMAConvCplt()
	/*
	if(hadc==hadc1)
	{

	}

	if(hadc->Instance==hadc2)
	{

	}
	*/

}

/**
  * @brief  Conversion DMA half-transfer callback in non blocking mode
  * @param  hadc: ADC handle
  * @retval None
  */
void HAL_ADC_ConvHalfCpltCallback(ADC_HandleTypeDef *hadc)
{

}

/**
  * @brief  ADC error callback in non blocking mode
  *        (ADC conversion with interruption or transfer by DMA)
  * @param  hadc: ADC handle
  * @retval None
  */
void HAL_ADC_ErrorCallback(ADC_HandleTypeDef *hadc)
{
  /* In case of ADC error, call main error handler */
  Error_Handler();
}

void initLCD(void)
{
	lcd.pcf8574.PCF_I2C_ADDRESS = LCD1_I2C_ADDRESS;
	lcd.pcf8574.PCF_I2C_TIMEOUT = 1000;
	lcd.pcf8574.i2c = hi2c1;
	//	lcd.pcf8574.i2c.Instance = I2C1;
		//lcd.pcf8574.i2c.Init.Timing= 400000;
		//this was code from example but ClockSpeed is not there
		//lcd.pcf8574.i2c.Init.ClockSpeed = 400000;
	lcd.NUMBER_OF_LINES = NUMBER_OF_LINES_2;
	lcd.errorCallback = errorHandleLCD;
	lcd.pcf8574.errorCallback = errorHandleI2C;
	//lcd.errorCallback = errorHandleLCD; //added this to see if can handle error
	lcd.type = TYPE0;
	lcd.backLight = 0;

	if(LCD_Init(&lcd)!=LCD_OK){ //LCD_Init set the pins as defined in hd44780.c!
		// error occured
		_Error_Handler(__FILE__, __LINE__);
	}
}

/**
  * @brief  Error Callback from LCD library, set in initLCD
  * @param  None
  * @note   Just goes to standard error handle
  * @retval None
  */
void errorHandleLCD(LCD_RESULT result)
{
	_Error_Handler(__FILE__, __LINE__);
}

/**
  * @brief  Error Callback from LCD library, set in initLCD
  * @param  None
  * @note   Just goes to standard error handle
  * @retval None
  */
void errorHandleI2C(PCF8574_RESULT result)
{
	_Error_Handler(__FILE__, __LINE__);
}

/**
  * @brief  Retargets the C library printf function to the USART.
  * @param  None
  * @retval None
  */
fputc(int ch, FILE *f)
{
  /* Place your implementation of fputc here */
  /* e.g. write a character to the EVAL_COM1 and Loop until the end of transmission */
  HAL_UART_Transmit(&huart2, (uint8_t *)&ch, 1, 0xFFFF);

  return ch;
}

/* USER CODE END 4 */

void _Error_Handler(char * file, int line)
{
  while(1)
  {
  }
}

/************************ (C) COPYRIGHT STMicroelectronics *****END OF FILE****/
